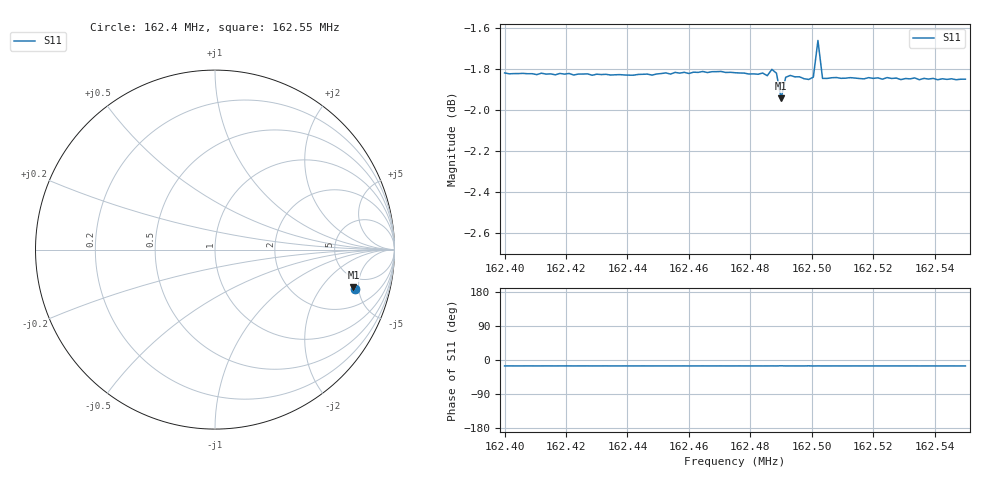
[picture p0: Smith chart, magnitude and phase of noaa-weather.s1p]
! Calibrated averaged scanner-service zoom
# Hz S RI R 50
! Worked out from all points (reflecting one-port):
!   101 points, 162.4 MHz to 162.55 MHz, reference 50 ohm
!   lowest |S11| = -1.9 dB at 162.49 MHz (marker M1), VSWR 8.97, Z = 187 - j218 ohm
!   phase of S11 starts at -16 deg and turns -0 deg over the sweep
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1.624e8  0.781 -0.2185
1.624195e8  0.7805 -0.2183
1.624375e8  0.7802 -0.2187
1.62439e8  0.7802 -0.2179
1.624405e8  0.7799 -0.2187
1.62457e8  0.7808 -0.2187
1.624645e8  0.7817 -0.2185
1.62466e8  0.7809 -0.2194
1.624705e8  0.7817 -0.2184
1.62472e8  0.781 -0.2194
1.62475e8  0.7809 -0.2192
1.624825e8  0.7804 -0.2184
1.62484e8  0.7806 -0.2197
1.624855e8  0.7796 -0.2189
1.62487e8  0.7827 -0.2184
1.624885e8  0.7806 -0.2196
1.6249e8  0.7712 -0.2107
1.624915e8  0.7789 -0.2189
1.62493e8  0.7798 -0.2187
1.624945e8  0.7791 -0.2186
1.624975e8  0.7782 -0.2188
1.62499e8  0.7791 -0.2143
1.625005e8  0.7785 -0.2203
1.62502e8  0.7956 -0.2217
1.625035e8  0.7783 -0.2189
1.625125e8  0.7787 -0.2187
1.62532e8  0.7783 -0.2183
1.6255e8  0.778 -0.2186
